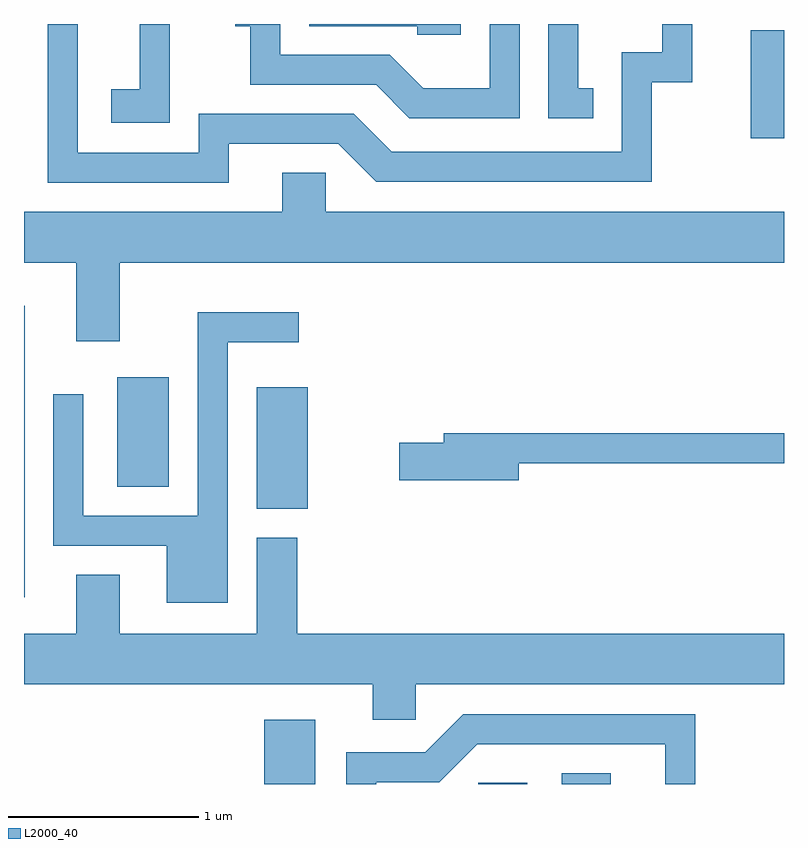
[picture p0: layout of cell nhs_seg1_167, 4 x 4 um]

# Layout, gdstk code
import gdstk
lib = gdstk.Library(unit=1e-6, precision=1e-09)
def R(c, l, rs):  # rectangles x0, y0, x1, y1
    for r in rs: c.add(gdstk.rectangle(r[:2], r[2:], *l))
def P(c, l, *ps):  # polygons
    for p in ps: c.add(gdstk.Polygon(p, *l))
L2000_40 = (2000, 40)

nhs_seg1_167 = lib.new_cell('nhs_seg1_167')
R(nhs_seg1_167, L2000_40, [(190.876,905.712,191.144,906.049), (192.003,905.712,192.259,905.719), (192.441,905.712,192.698,905.769), (189.611,906.696,189.614,908.229), (190.836,907.161,191.104,907.799), (190.101,907.276,190.374,907.854), (193.436,909.111,193.611,909.679)])
P(nhs_seg1_167, L2000_40, [(192.608,909.374),(192.529,909.374),(192.529,909.712),(192.371,909.712),(192.371,909.216),(192.608,909.216)],
  [(190.689,909.081),(191.264,909.081),(191.464,908.881),(192.914,908.881),(192.914,909.406),(193.129,909.406),(193.129,909.712),(192.971,909.712),(192.971,909.564),(192.756,909.564),(192.756,909.039),(191.547,909.039),(191.347,909.239),(190.531,909.239),(190.531,909.034),(189.894,909.034),(189.894,909.712),(189.736,909.712),(189.736,908.876),(190.689,908.876)],
  [(192.219,909.712),(192.061,909.712),(192.061,909.374),(191.712,909.374),(191.537,909.549),(190.959,909.549),(190.959,909.712),(190.723,909.712),(190.723,909.701),(190.801,909.701),(190.801,909.391),(191.464,909.391),(191.639,909.216),(192.219,909.216)],
  [(190.379,909.712),(190.221,909.712),(190.221,909.369),(190.071,909.369),(190.071,909.191),(190.379,909.191)],
  [(191.909,909.712),(191.111,909.712),(191.111,909.701),(191.681,909.701),(191.681,909.656),(191.909,909.656)],
  [(190.114,908.456),(193.611,908.456),(193.611,908.724),(191.199,908.724),(191.199,908.929),(190.971,908.929),(190.971,908.724),(189.611,908.724),(189.611,908.456),(189.886,908.456),(189.886,908.041),(190.114,908.041)],
  [(190.684,908.036),(191.058,908.036),(191.058,908.194),(190.526,908.194),(190.526,907.124),(189.924,907.124),(189.924,907.763),(189.766,907.763),(189.766,906.966),(190.361,906.966),(190.361,906.666),(190.684,906.666)],
  [(192.214,907.401),(193.611,907.401),(193.611,907.559),(191.821,907.559),(191.821,907.509),(191.586,907.509),(191.586,907.311),(192.214,907.311)],
  [(191.674,906.236),(193.611,906.236),(193.611,906.504),(191.049,906.504),(191.049,907.009),(190.836,907.009),(190.836,906.504),(190.114,906.504),(190.114,906.814),(189.886,906.814),(189.886,906.504),(189.611,906.504),(189.611,906.236),(191.446,906.236),(191.446,906.051),(191.674,906.051)],
  [(191.464,905.721),(191.797,905.721),(191.997,905.921),(192.986,905.921),(192.986,905.712),(193.144,905.712),(193.144,906.079),(191.924,906.079),(191.724,905.879),(191.306,905.879),(191.306,905.712),(191.464,905.712)])

lib.write_gds('nhs_seg1_167.gds')
